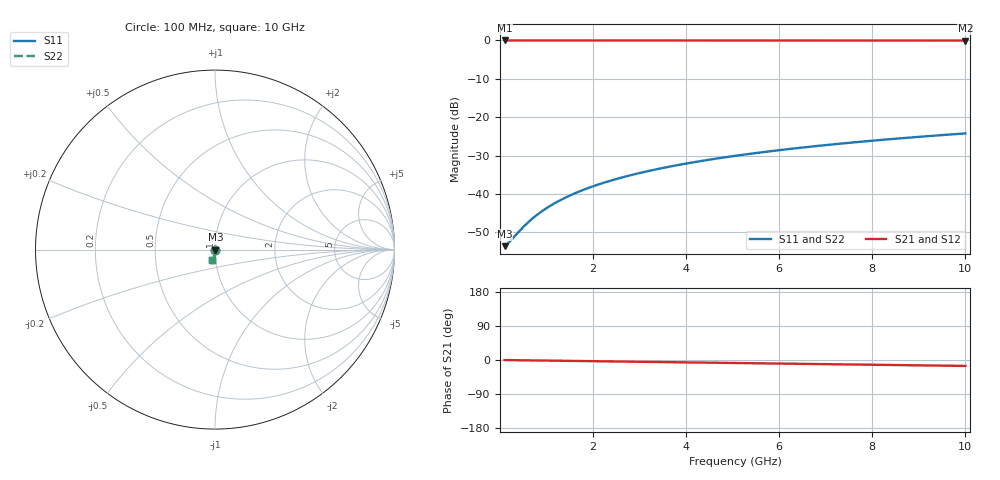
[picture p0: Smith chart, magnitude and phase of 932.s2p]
# Hz S RI R 50.00
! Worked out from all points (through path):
!   100 points, 100 MHz to 10 GHz, reference 50 ohm
!   highest |S21| = -0.02 dB at 100 MHz (marker M1); lowest = 0.0 dB at 10 GHz (marker M2)
!   group delay of S21, straight-line fit = 4.35 ps
!   lowest |S11| = -53.6 dB at 100 MHz (marker M3), VSWR 1.00, Z = 50.2 - j0.0629 ohm
!   |S11| at or under -10 dB: start of sweep to end of sweep
!   |S22| runs from -53.6 to -24.2 dB; largest |S21 - S12| = 0
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1e8  0.002 -0.000627  0.998 -0.00273  0.998 -0.00273  0.002 -0.000627
2e8  0.002 -0.00125  0.998 -0.00545  0.998 -0.00545  0.002 -0.00125
4e8  0.002 -0.00251  0.9979 -0.0109  0.9979 -0.0109  0.002 -0.00251
5e8  0.00199 -0.00313  0.9979 -0.0136  0.9979 -0.0136  0.00199 -0.00313
6e8  0.00197 -0.00376  0.9978 -0.0164  0.9978 -0.0164  0.00197 -0.00376
7e8  0.00196 -0.00439  0.9977 -0.0191  0.9977 -0.0191  0.00196 -0.00439
9e8  0.00191 -0.00564  0.9976 -0.0245  0.9976 -0.0245  0.00191 -0.00564
1.1e9  0.00184 -0.00689  0.9974 -0.03  0.9974 -0.03  0.00184 -0.00689
1.3e9  0.00177 -0.00814  0.9972 -0.0354  0.9972 -0.0354  0.00177 -0.00814
1.5e9  0.00168 -0.0094  0.997 -0.0409  0.997 -0.0409  0.00168 -0.0094
1.8e9  0.00151 -0.0113  0.9966 -0.049  0.9966 -0.049  0.00151 -0.0113
2.1e9  0.00132 -0.0131  0.9961 -0.0572  0.9961 -0.0572  0.00132 -0.0131
2.5e9  0.00101 -0.0156  0.9954 -0.0681  0.9954 -0.0681  0.00101 -0.0156
2.9e9  0.000647 -0.0181  0.9945 -0.079  0.9945 -0.079  0.000647 -0.0181
3.4e9  0.000117 -0.0212  0.9933 -0.0925  0.9933 -0.0925  0.000117 -0.0212
4.2e9  -0.000907 -0.0261  0.9909 -0.1142  0.9909 -0.1142  -0.000907 -0.0261
5.1e9  -0.00231 -0.0316  0.9876 -0.1385  0.9876 -0.1385  -0.00231 -0.0316
5.9e9  -0.00379 -0.0364  0.9841 -0.16  0.9841 -0.16  -0.00379 -0.0364
6.7e9  -0.00547 -0.0411  0.9801 -0.1815  0.9801 -0.1815  -0.00547 -0.0411
7.5e9  -0.00736 -0.0458  0.9757 -0.2028  0.9757 -0.2028  -0.00736 -0.0458
8.4e9  -0.00972 -0.0509  0.9701 -0.2266  0.9701 -0.2266  -0.00972 -0.0509
1e10  -0.0145 -0.0597  0.9587 -0.2686  0.9587 -0.2686  -0.0145 -0.0597
